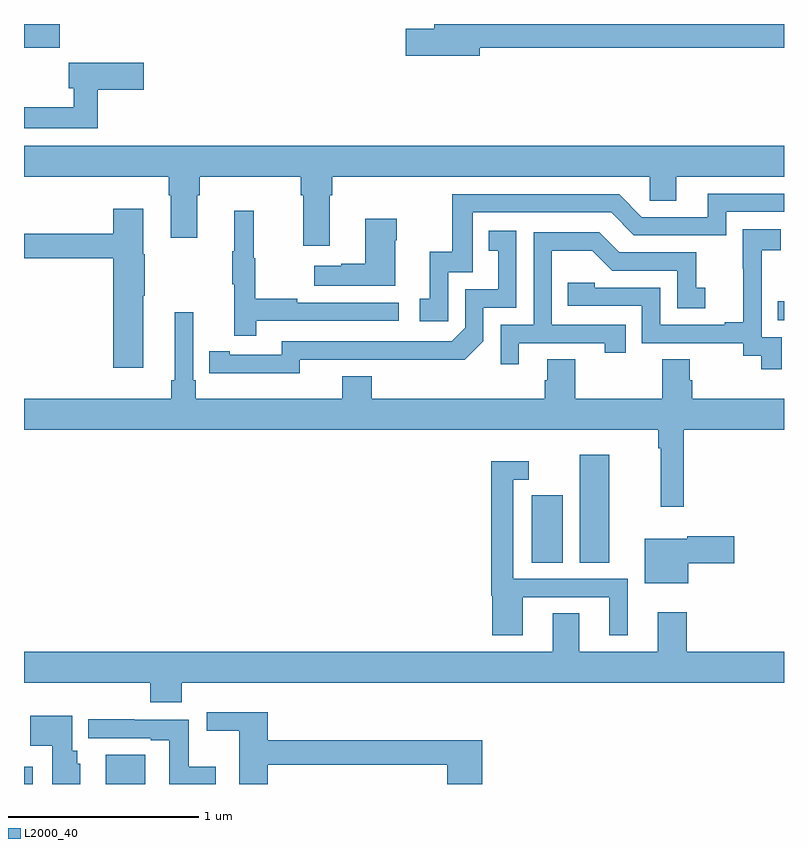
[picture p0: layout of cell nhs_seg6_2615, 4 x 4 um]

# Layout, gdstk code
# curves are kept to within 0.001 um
import gdstk
lib = gdstk.Library(unit=1e-6, precision=1e-09)
def R(c, l, rs):  # rectangles x0, y0, x1, y1
    for r in rs: c.add(gdstk.rectangle(r[:2], r[2:], *l))
def P(c, l, *ps):  # polygons
    for p in ps: c.add(gdstk.Polygon(p, *l))
L2000_40 = (2000, 40)

nhs_seg6_2615 = lib.new_cell('nhs_seg6_2615')
R(nhs_seg6_2615, L2000_40, [(267,917.5,267.046,917.59), (267.431,917.5,267.637,917.653), (269.672,918.664,269.836,919.021), (269.924,918.664,270.079,919.234), (270.967,919.941,271,920.042), (267,921.376,267.187,921.5)])
P(nhs_seg6_2615, L2000_40, [(269.398,921.376),(271,921.376),(271,921.5),(269.159,921.5),(269.159,921.476),(269.01,921.476),(269.01,921.334),(269.398,921.334)],
  [(267.389,921.154),(267.631,921.154),(267.631,921.296),(267.235,921.296),(267.235,921.161),(267.261,921.161),(267.261,921.061),(267,921.061),(267,920.952),(267.389,920.952)],
  [(267,920.696),(267.761,920.696),(267.761,920.6),(267.773,920.6),(267.773,920.376),(267.913,920.376),(267.913,920.6),(267.926,920.6),(267.926,920.696),(268.457,920.696),(268.457,920.6),(268.469,920.6),(268.469,920.334),(268.609,920.334),(268.609,920.6),(268.622,920.6),(268.622,920.696),(270.294,920.696),(270.294,920.569),(270.433,920.569),(270.433,920.696),(271,920.696),(271,920.86),(267,920.86)],
  [(269.232,920.193),(269.361,920.193),(269.361,920.508),(270.09,920.508),(270.21,920.388),(270.696,920.388),(270.696,920.511),(271,920.511),(271,920.607),(270.599,920.607),(270.599,920.484),(270.252,920.484),(270.132,920.604),(269.253,920.604),(269.253,920.302),(269.135,920.302),(269.135,920.055),(269.082,920.055),(269.082,919.935),(269.232,919.935)],
  [(267.628,920.071),(267.636,920.071),(267.636,920.289),(267.628,920.289),(267.628,920.527),(267.47,920.527),(267.47,920.395),(267,920.395),(267,920.266),(267.47,920.266),(267.47,919.692),(267.628,919.692)],
  [(268.223,919.938),(268.972,919.938),(268.972,920.034),(268.439,920.034),(268.439,920.054),(268.216,920.054),(268.216,920.268),(268.208,920.268),(268.208,920.518),(268.106,920.518),(268.106,920.305),(268.095,920.305),(268.095,920.131),(268.106,920.131),(268.106,919.86),(268.223,919.86)],
  [(268.954,920.363),(268.962,920.363),(268.962,920.476),(268.796,920.476),(268.796,920.237),(268.67,920.237),(268.67,920.227),(268.527,920.227),(268.527,920.123),(268.954,920.123)],
  [(270.987,919.851),(270.882,919.851),(270.882,920.081),(270.884,920.081),(270.884,920.309),(270.982,920.309),(270.982,920.419),(270.784,920.419),(270.784,920.213),(270.785,920.213),(270.785,919.93),(270.689,919.93),(270.689,919.917),(270.348,919.917),(270.348,920.112),(270.003,920.112),(270.003,920.139),(269.863,920.139),(269.863,920.016),(270.252,920.016),(270.252,919.821),(270.786,919.821),(270.786,919.753),(270.879,919.753),(270.879,919.683),(270.987,919.683)],
  [(268.452,919.734),(269.32,919.733),(269.418,919.83),(269.418,920.007),(269.592,920.007),(269.592,920.413),(269.446,920.413),(269.446,920.307),(269.495,920.307),(269.495,920.103),(269.322,920.103),(269.322,919.902),(269.25,919.83),(268.356,919.83),(268.356,919.758),(268.084,919.758),(268.084,919.778),(267.976,919.778),(267.976,919.662),(268.452,919.661)],
  [(269.605,919.821),(270.056,919.821),(270.056,919.77),(270.167,919.77),(270.167,919.917),(269.778,919.917),(269.778,920.306),(269.992,920.306),(270.096,920.202),(270.438,920.202),(270.438,920.004),(270.586,920.004),(270.586,920.113),(270.537,920.113),(270.537,920.298),(270.133,920.298),(270.028,920.403),(269.682,920.403),(269.682,919.917),(269.508,919.917),(269.508,919.71),(269.605,919.71)],
  [(270.505,919.626),(270.505,919.736),(270.358,919.736),(270.358,919.528),(269.901,919.528),(269.901,919.736),(269.753,919.736),(269.753,919.626),(269.741,919.626),(269.741,919.528),(268.829,919.528),(268.829,919.645),(268.676,919.645),(268.676,919.528),(267.905,919.528),(267.905,919.624),(267.891,919.624),(267.891,919.984),(267.794,919.984),(267.794,919.624),(267.775,919.624),(267.775,919.528),(267,919.528),(267,919.364),(270.337,919.364),(270.337,919.268),(270.352,919.268),(270.352,918.96),(270.473,918.96),(270.473,919.364),(271,919.364),(271,919.528),(270.518,919.528),(270.518,919.626)],
  [(269.626,918.483),(270.08,918.483),(270.08,918.282),(270.178,918.282),(270.178,918.579),(269.574,918.579),(269.574,919.101),(269.656,919.101),(269.656,919.198),(269.458,919.198),(269.458,918.492),(269.465,918.492),(269.465,918.282),(269.626,918.282)],
  [(270.496,918.661),(270.739,918.661),(270.739,918.803),(270.492,918.803),(270.492,918.79),(270.266,918.79),(270.266,918.557),(270.496,918.557)],
  [(271,918.196),(270.488,918.196),(270.488,918.403),(270.335,918.403),(270.335,918.196),(269.923,918.196),(269.923,918.398),(269.783,918.398),(269.783,918.196),(267,918.196),(267,918.032),(267.665,918.032),(267.665,917.93),(267.83,917.93),(267.83,918.032),(271,918.032)],
  [(268.283,917.602),(269.228,917.602),(269.228,917.5),(269.411,917.5),(269.411,917.731),(268.283,917.731),(268.283,917.878),(267.963,917.878),(267.963,917.78),(268.133,917.78),(268.133,917.5),(268.283,917.5)],
  [(267.295,917.607),(267.28,917.607),(267.28,917.676),(267.253,917.676),(267.253,917.86),(267.034,917.86),(267.034,917.702),(267.149,917.702),(267.149,917.5),(267.295,917.5)],
  [(268.009,917.59),(267.866,917.59),(267.866,917.838),(267.581,917.838),(267.581,917.84),(267.339,917.84),(267.339,917.742),(267.668,917.742),(267.668,917.73),(267.765,917.73),(267.765,917.5),(268.009,917.5)])

lib.write_gds('nhs_seg6_2615.gds')
